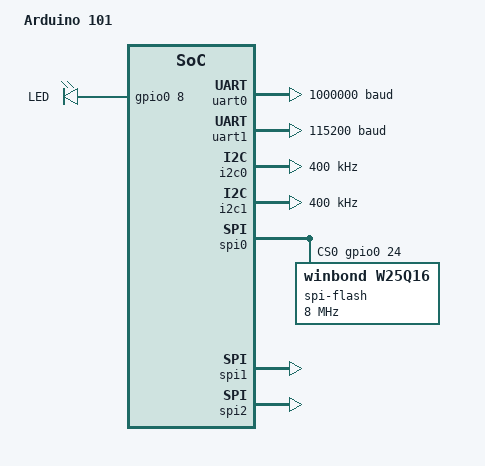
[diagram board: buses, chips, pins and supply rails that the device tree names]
/* SPDX-License-Identifier: Apache-2.0 */

/dts-v1/;

#include <mem.h>

#define DT_FLASH_SIZE		DT_SIZE_K(144)
#define DT_SRAM_SIZE		DT_SIZE_K(52)

#include "intel_curie.dtsi"

/ {
	model = "Arduino 101";
	compatible = "arduino,101","intel,quark";

	aliases {
		led0 = &led0;
		uart-0 = &uart0;
		uart-1 = &uart1;
	};

	chosen {
		zephyr,sram = &sram0;
		zephyr,flash = &flash0;
		zephyr,console = &uart1;
		zephyr,shell-uart = &uart1;
		zephyr,bt-uart = &uart0;
		zephyr,uart-pipe = &uart1;
		zephyr,bt-mon-uart = &uart1;
	};

	leds {
		compatible = "gpio-leds";
		led0: led_0 {
			gpios = <&gpio0 8 0>;
			label = "LED";
		};
	};
};

&uart0 {
	status = "ok";
	current-speed = <1000000>;
};

&uart1 {
	status = "ok";
	current-speed = <115200>;
};

&i2c0 {
	status = "ok";
	clock-frequency = <I2C_BITRATE_FAST>;
};

&i2c1 {
	status = "ok";
	clock-frequency = <I2C_BITRATE_FAST>;
};

&spi0 {
	status = "ok";
	cs-gpios = <&gpio0 24 0>;

	spi-flash@0 {
		#address-cells = <1>;
		#size-cells = <1>;
		compatible = "winbond,w25q16", "jedec,spi-nor";
		reg = <0>;
		spi-max-frequency = <8000000>;
	};
};

&spi1 {
	status = "ok";
};

&spi2 {
	status = "ok";
};
